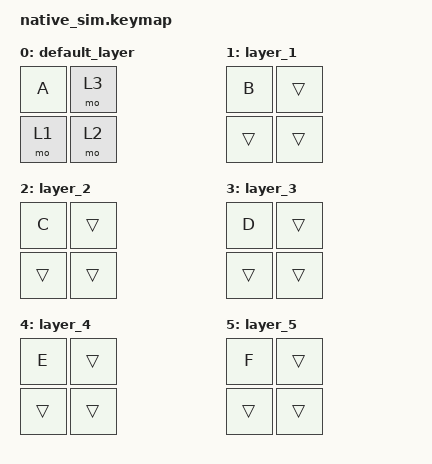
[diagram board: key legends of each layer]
#include <behaviors.dtsi>
#include <dt-bindings/zmk/keys.h>
#include <dt-bindings/zmk/input_mock.h>

/ {
    conditional_layers {
        compatible = "zmk,conditional-layers";
        tri_layer {
            if-layers = <1 2>;
            then-layer = <4>;
        };
        quad_layer {
            if-layers = <1 2 3>;
            then-layer = <5>;
        };
    };

    keymap {
        compatible = "zmk,keymap";
        default_layer {
            bindings = <
                &kp A &mo 3
                &mo 1 &mo 2
            >;
        };
        layer_1 {
            bindings = <
                &kp B &trans
                &trans &trans
            >;
        };
        layer_2 {
            bindings = <
                &kp C &trans
                &trans &trans
            >;
        };
        layer_3 {
            bindings = <
                &kp D &trans
                &trans &trans
            >;
        };
        layer_4 {
            bindings = <
                &kp E &trans
                &trans &trans
            >;
        };
        layer_5 {
            bindings = <
                &kp F &trans
                &trans &trans
            >;
        };
    };
};

&mock_input {
    events = <
        ZMK_INPUT_MOCK_PRESS(1,0,10)
        ZMK_INPUT_MOCK_PRESS(1,1,10)
        ZMK_INPUT_MOCK_PRESS(0,0,10)
        ZMK_INPUT_MOCK_RELEASE(0,0,10)
        ZMK_INPUT_MOCK_PRESS(0,1,10)
        ZMK_INPUT_MOCK_PRESS(0,0,10)
        ZMK_INPUT_MOCK_RELEASE(0,0,10)
        ZMK_INPUT_MOCK_RELEASE(0,1,10)
        ZMK_INPUT_MOCK_PRESS(0,0,10)
        ZMK_INPUT_MOCK_RELEASE(0,0,10)
        ZMK_INPUT_MOCK_RELEASE(1,1,10)
        ZMK_INPUT_MOCK_RELEASE(1,0,10)
    >;
};
